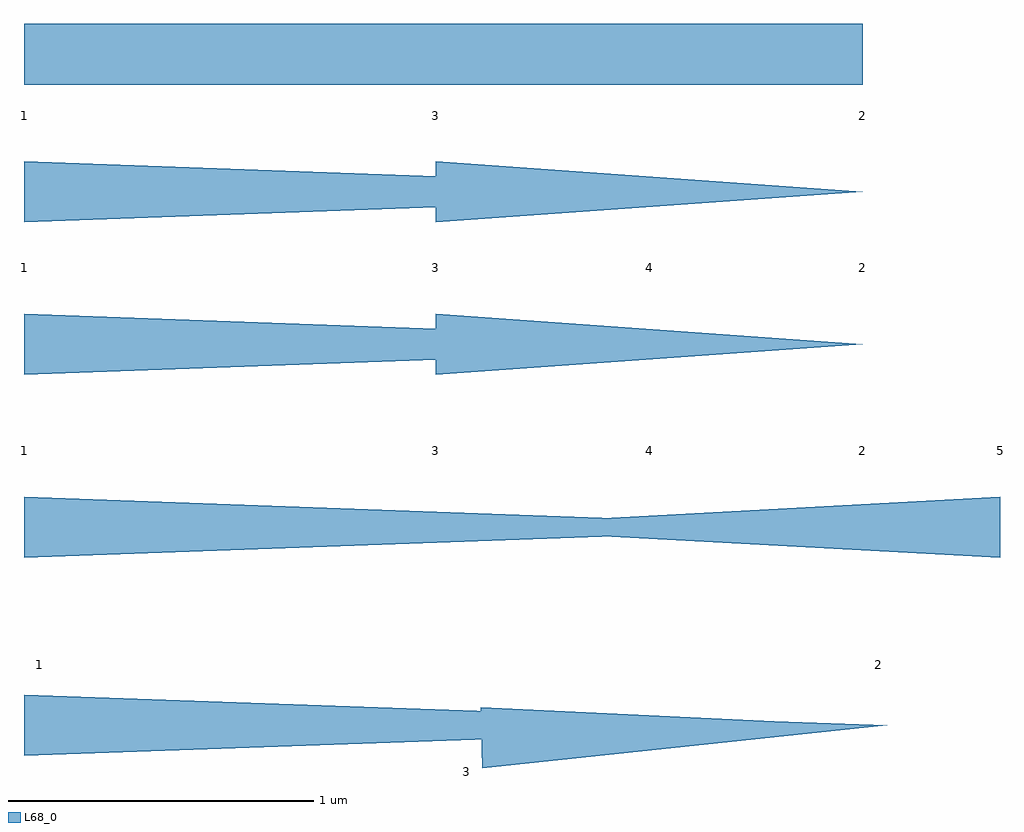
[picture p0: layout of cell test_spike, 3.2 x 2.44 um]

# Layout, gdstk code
import gdstk
lib = gdstk.Library(unit=1e-6, precision=1e-09)
L68_0 = (68, 0)

test_spike = lib.new_cell('test_spike')
test_spike.add(gdstk.FlexPath([(0,3.3),(2.8,3.3),(1.5,3.26)], 0.2, ends="flush", simple_path=True, layer=68, datatype=0))  # L68_0
test_spike.add(gdstk.FlexPath([(0,3.95),(2.75,3.95),(1.35,3.95),(3.2,3.95)], 0.2, ends="flush", simple_path=True, layer=68, datatype=0))  # L68_0
test_spike.add(gdstk.FlexPath([(0,4.55),(2.75,4.55),(1.35,4.55)], 0.2, ends="flush", simple_path=True, layer=68, datatype=0))  # L68_0
test_spike.add(gdstk.FlexPath([(0,5.05),(2.75,5.05),(1.35,5.05)], 0.2, ends="flush", simple_path=True, layer=68, datatype=0))  # L68_0
test_spike.add(gdstk.FlexPath([(0,5.5),(2.75,5.5)], 0.2, ends="flush", simple_path=True, layer=68, datatype=0))  # L68_0
test_spike.add(gdstk.Label('Generated with the LayoutEditor (This message will NOT added in any commercial version of the LayoutEditor.)', (0,5.7), layer=68, texttype=13476))
test_spike.add(gdstk.Label('4', (2.05,4.2), layer=68, texttype=0))
test_spike.add(gdstk.Label('2', (2.75,4.2), layer=68, texttype=0))
test_spike.add(gdstk.Label('1', (0,4.2), layer=68, texttype=0))
test_spike.add(gdstk.Label('3', (1.35,4.2), layer=68, texttype=0))
test_spike.add(gdstk.Label('3', (1.35,4.8), layer=68, texttype=0))
test_spike.add(gdstk.Label('1', (0,4.8), layer=68, texttype=0))
test_spike.add(gdstk.Label('2', (2.75,4.8), layer=68, texttype=0))
test_spike.add(gdstk.Label('2', (2.75,5.3), layer=68, texttype=0))
test_spike.add(gdstk.Label('1', (0,5.3), layer=68, texttype=0))
test_spike.add(gdstk.Label('1', (0,5.7), layer=68, texttype=0))
test_spike.add(gdstk.Label('2', (2.75,5.7), layer=68, texttype=0))
test_spike.add(gdstk.Label('3', (1.35,5.3), layer=68, texttype=0))
test_spike.add(gdstk.Label('4', (2.05,4.8), layer=68, texttype=0))
test_spike.add(gdstk.Label('5', (3.2,4.2), layer=68, texttype=0))
test_spike.add(gdstk.Label('3', (1.45,3.15), layer=68, texttype=0))
test_spike.add(gdstk.Label('1', (0.05,3.5), layer=68, texttype=0))
test_spike.add(gdstk.Label('2', (2.8,3.5), layer=68, texttype=0))

lib.write_gds('test_spike.gds')
